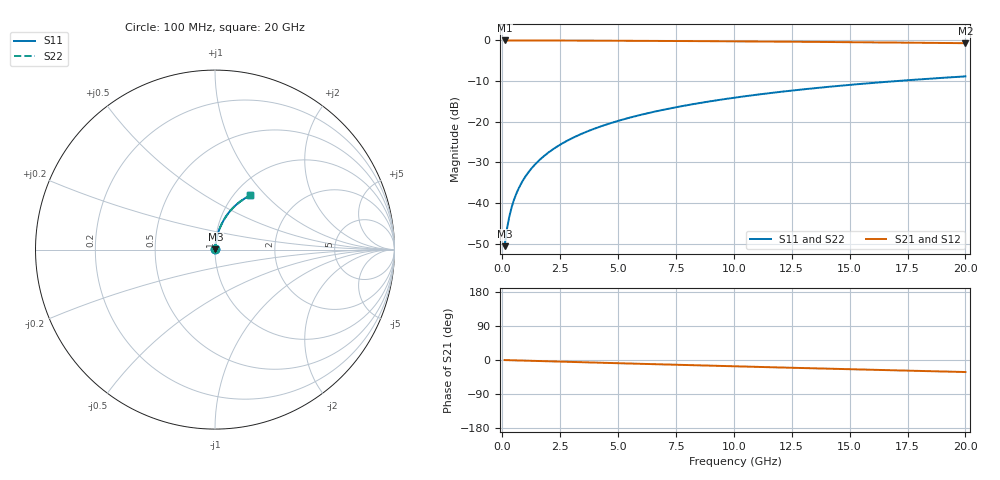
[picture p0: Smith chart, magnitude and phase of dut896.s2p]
! Touchstone file exported from HFSS 2026.1.0
!  File:  C:/ffzhzh/LocalFiles/Ansys_Project_Files/temp_train_TMRDL_896_1783157729_55132.aedt
!  Generated:  05:36:44 PM Jul  4, 2026
!  Design:  TMRDL
!  Project:  temp_train_TMRDL_896_1783157729_55132
! Variables:
!  h_bsmrdl = 2um
!  h_ox = 20um
!  h_rdl = 5um
!  h_sub = 80um
!  h_tmrdl = 5.96um
!  h_tsv = 80um
!  h_via = 3um
!  l_bsmrdl = 300um
!  l_sub = 805.34um
!  l_tmrdl = 405.34um
!  m_sub = 200um
!  pitch = 48.79um
!  r_tsv = 6um
!  s_tmrdl = 10um
!  w_bsmrdl = 18um
!  w_sub = 500um
!  w_tmrdl = 12.54um
!  x_tsv_center1 = 411.61um
!  x_tsv_center2 = 729.61um
!  x_tsv_center3 = 1147.49um
!  x_tsv_center4 = 1465.49um
!  x_tsv_center5 = 1883.37um
!  x_tsv_center6 = 2201.37um
# GHz S MA R 50.000000
! Terminal data exported
! Port[1] = TM_RDL1_1_T1
! Port[2] = TM_RDL1_1_T2
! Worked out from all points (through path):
!   200 points, 100 MHz to 20 GHz, reference 50 ohm
!   highest |S21| = -0.02 dB at 100 MHz (marker M1); lowest = -0.7 dB at 20 GHz (marker M2)
!   group delay of S21, straight-line fit = 4.41 ps
!   lowest |S11| = -50.6 dB at 100 MHz (marker M3), VSWR 1.01, Z = 50.2 + j0.217 ohm
!   |S11| at or under -10 dB: start of sweep to 17.04 GHz
!   |S22| runs from -50.6 to -8.9 dB; largest |S21 - S12| = 3.1e-15
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0.1  0.002943 47.3  0.998 -0.2  0.998 -0.2  0.002943 47.3
! Gamma 0 0 0 0
! Port Impedance 50 0 50 0
0.2  0.004769 64.3  0.998 -0.4  0.998 -0.4  0.004769 64.3
0.3  0.006757 71.5  0.9979 -0.5  0.9979 -0.5  0.006757 71.5
0.4  0.008789 75.2  0.9978 -0.7  0.9978 -0.7  0.008789 75.2
0.5  0.01084 77.6  0.9978 -0.9  0.9978 -0.9  0.01084 77.6
0.7  0.01497 80.2  0.9976 -1.2  0.9976 -1.2  0.01497 80.2
0.8  0.01704 80.9  0.9976 -1.4  0.9976 -1.4  0.01704 80.9
1  0.02119 81.9  0.9974 -1.7  0.9974 -1.7  0.02119 81.9
1.2  0.02535 82.4  0.9973 -2.1  0.9973 -2.1  0.02535 82.4
1.4  0.0295 82.7  0.9971 -2.4  0.9971 -2.4  0.0295 82.7
1.7  0.03571 82.8  0.9967 -2.9  0.9967 -2.9  0.03571 82.8
2  0.04191 82.7  0.9963 -3.4  0.9963 -3.4  0.04191 82.7
2.7  0.05625 82.1  0.9952 -4.6  0.9952 -4.6  0.05625 82.1
3.5  0.07245 81.1  0.9937 -6.0  0.9937 -6.0  0.07245 81.1
4.2  0.08645 80.1  0.9921 -7.1  0.9921 -7.1  0.08645 80.1
5  0.1023 78.9  0.9901 -8.5  0.9901 -8.5  0.1023 78.9
6.8  0.1371 76.3  0.985 -11.4  0.985 -11.4  0.1371 76.2
8.3  0.1655 74.0  0.98 -13.9  0.98 -13.9  0.1655 74.0
10.1  0.1987 71.3  0.9733 -16.7  0.9733 -16.7  0.1987 71.3
13.4  0.2568 66.4  0.9588 -21.9  0.9588 -21.9  0.2568 66.4
16.7  0.3109 61.5  0.9421 -26.9  0.9421 -26.9  0.3109 61.5
20  0.3607 56.9  0.9238 -31.7  0.9238 -31.7  0.3607 56.9
